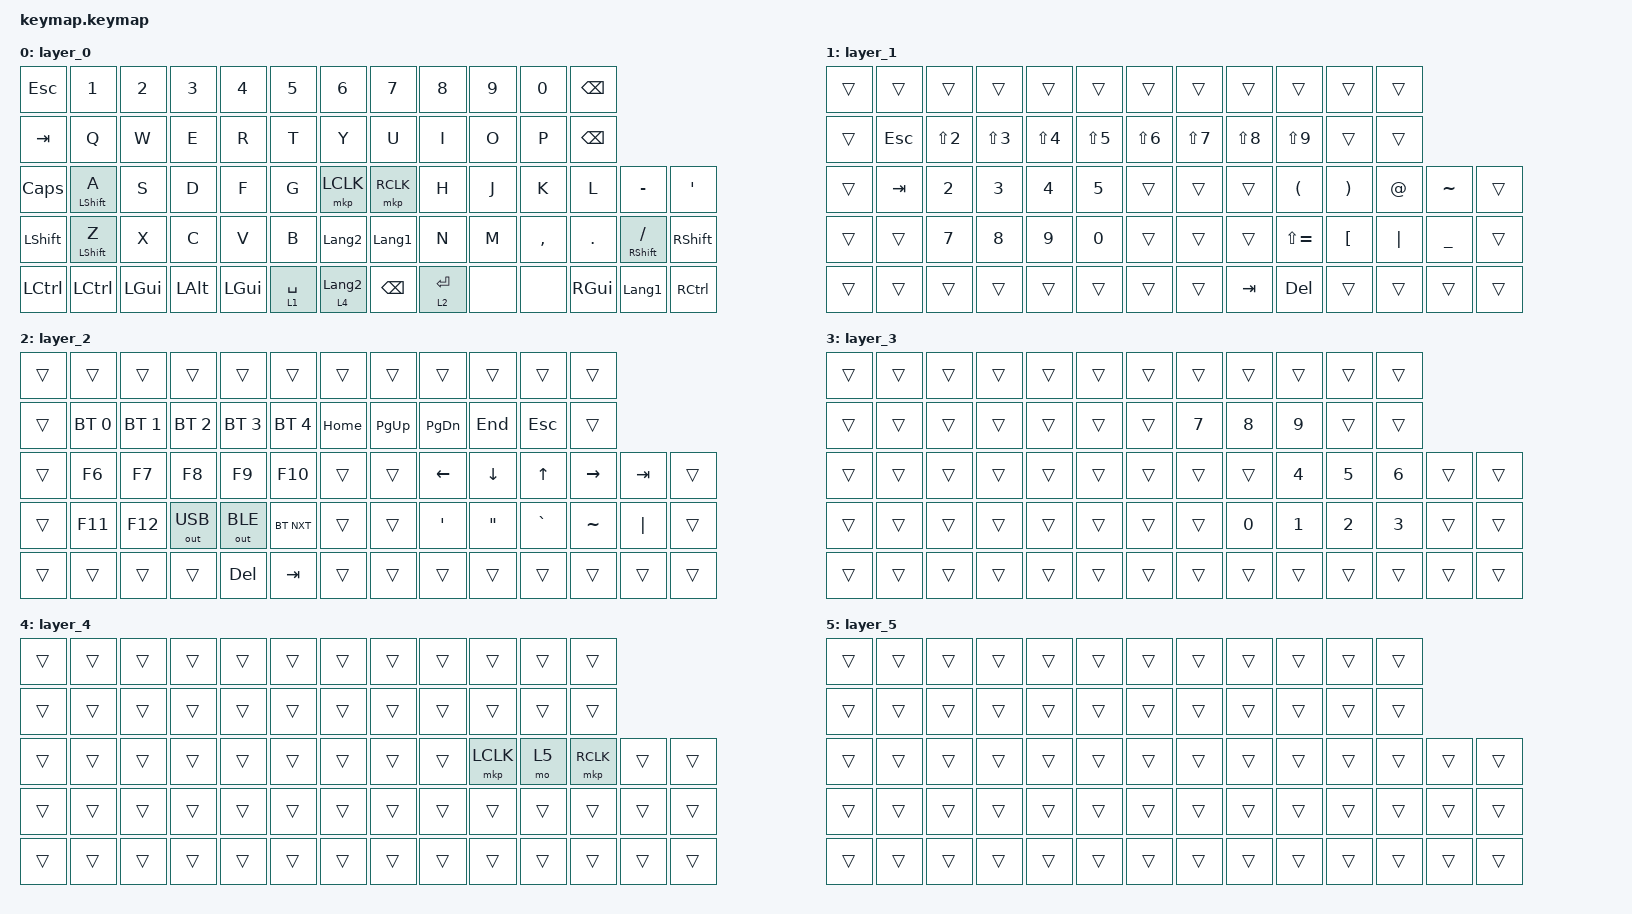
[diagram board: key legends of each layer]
#include <behaviors.dtsi>
#include <dt-bindings/zmk/bt.h>
#include <dt-bindings/zmk/keys.h>
#include <dt-bindings/zmk/outputs.h>
#include <dt-bindings/zmk/pointing.h>

/ {
    combos {
        compatible = "zmk,combos";

        bt_clear {
            bindings = <&bt BT_CLR>;
            key-positions = <28 29>;
            layers = <1>;
        };
    };

    keymap {
        compatible = "zmk,keymap";

        layer_0 {
            bindings = <
  &kp ESC  &kp N1  &kp N2  &kp N3  &kp N4  &kp N5  &kp N6  &kp N7  &kp N8  &kp N9  &kp N0  &kp BSPC
  &kp TAB  &kp Q  &kp W  &kp E  &kp R  &kp T  &kp Y  &kp U  &kp I  &kp O  &kp P  &kp BSPC
  &kp CAPS  &mt LSHFT A  &kp S  &kp D  &kp F  &kp G  &mkp LCLK  &mkp RCLK  &kp H  &kp J  &kp K  &kp L  &kp MINUS  &kp SQT
  &kp LSHFT  &mt LSHFT Z  &kp X  &kp C  &kp V  &kp B  &kp LANGUAGE_2  &kp LANGUAGE_1  &kp N  &kp M  &kp COMMA  &kp DOT  &mt RIGHT_SHIFT FSLH  &kp RSHFT
  &kp LCTRL  &kp LCTRL  &kp LGUI  &kp LALT  &kp LGUI  &lt 1 SPACE  &lt 4 LANGUAGE_2  &kp BSPC  &lt 2 RET  &none  &none  &kp RGUI  &kp LANGUAGE_1  &kp RCTRL
            >;
        };

        layer_1 {
            bindings = <
  &trans  &trans  &trans  &trans  &trans  &trans  &trans  &trans  &trans  &trans  &trans  &trans
  &trans  &kp ESC  &kp LS(NUMBER_2)  &kp LS(N3)  &kp LS(N4)  &kp LS(N5)  &kp LS(N6)  &kp LS(N7)  &kp LS(N8)  &kp LS(N9)  &trans  &trans
  &trans  &kp TAB  &kp N2  &kp N3  &kp N4  &kp N5  &trans  &trans  &trans  &kp LPAR  &kp RPAR  &kp AT  &kp TILDE  &trans
  &trans  &trans  &kp N7  &kp N8  &kp N9  &kp N0  &trans  &trans  &trans  &kp LS(EQUAL)  &kp LEFT_BRACKET  &kp PIPE  &kp UNDER  &trans
  &trans  &trans  &trans  &trans  &trans  &trans  &trans  &trans  &kp TAB  &kp DEL  &trans  &trans  &trans  &trans
            >;
        };

        layer_2 {
            bindings = <
  &trans  &trans  &trans  &trans  &trans  &trans  &trans  &trans  &trans  &trans  &trans  &trans
  &trans  &bt BT_SEL 0  &bt BT_SEL 1  &bt BT_SEL 2  &bt BT_SEL 3  &bt BT_SEL 4  &kp HOME  &kp PG_UP  &kp PAGE_DOWN  &kp END  &kp ESCAPE  &trans
  &trans  &kp F6  &kp F7  &kp F8  &kp F9  &kp F10  &trans  &trans  &kp LEFT  &kp DOWN  &kp UP_ARROW  &kp RIGHT  &kp TAB  &trans
  &trans  &kp F11  &kp F12  &out OUT_USB  &out OUT_BLE  &bt BT_NXT  &trans  &trans  &kp SINGLE_QUOTE  &kp DQT  &kp GRAVE  &kp TILDE  &kp PIPE  &trans
  &trans  &trans  &trans  &trans  &kp DELETE  &kp TAB  &trans  &trans  &trans  &trans  &trans  &trans  &trans  &trans
            >;
        };

        layer_3 {
            bindings = <
  &trans  &trans  &trans  &trans  &trans  &trans  &trans  &trans  &trans  &trans  &trans  &trans
  &trans  &trans  &trans  &trans  &trans  &trans  &trans  &kp N7  &kp N8  &kp N9  &trans  &trans
  &trans  &trans  &trans  &trans  &trans  &trans  &trans  &trans  &trans  &kp N4  &kp N5  &kp N6  &trans  &trans
  &trans  &trans  &trans  &trans  &trans  &trans  &trans  &trans  &kp N0  &kp N1  &kp N2  &kp N3  &trans  &trans
  &trans  &trans  &trans  &trans  &trans  &trans  &trans  &trans  &trans  &trans  &trans  &trans  &trans  &trans
            >;
        };

        layer_4 {
            bindings = <
  &trans  &trans  &trans  &trans  &trans  &trans  &trans  &trans  &trans  &trans  &trans  &trans
  &trans  &trans  &trans  &trans  &trans  &trans  &trans  &trans  &trans  &trans  &trans  &trans
  &trans  &trans  &trans  &trans  &trans  &trans  &trans  &trans  &trans  &mkp LCLK  &mo 5  &mkp RCLK  &trans  &trans
  &trans  &trans  &trans  &trans  &trans  &trans  &trans  &trans  &trans  &trans  &trans  &trans  &trans  &trans
  &trans  &trans  &trans  &trans  &trans  &trans  &trans  &trans  &trans  &trans  &trans  &trans  &trans  &trans
            >;
        };

        layer_5 {
            bindings = <
  &trans  &trans  &trans  &trans  &trans  &trans  &trans  &trans  &trans  &trans  &trans  &trans
  &trans  &trans  &trans  &trans  &trans  &trans  &trans  &trans  &trans  &trans  &trans  &trans
  &trans  &trans  &trans  &trans  &trans  &trans  &trans  &trans  &trans  &trans  &trans  &trans  &trans  &trans
  &trans  &trans  &trans  &trans  &trans  &trans  &trans  &trans  &trans  &trans  &trans  &trans  &trans  &trans
  &trans  &trans  &trans  &trans  &trans  &trans  &trans  &trans  &trans  &trans  &trans  &trans  &trans  &trans
            >;
        };
    };
};
